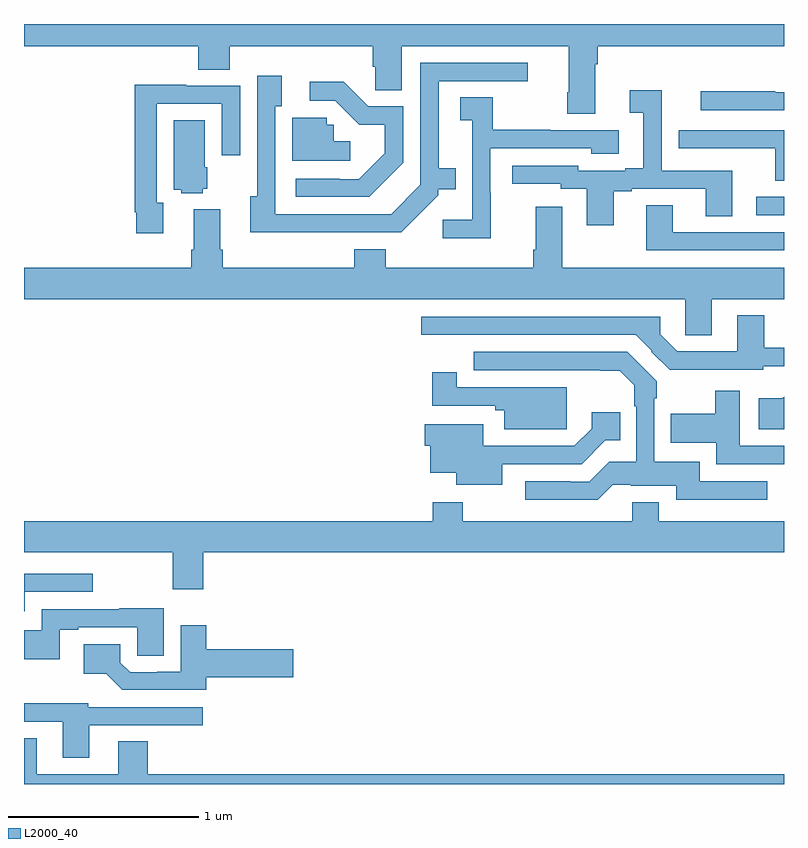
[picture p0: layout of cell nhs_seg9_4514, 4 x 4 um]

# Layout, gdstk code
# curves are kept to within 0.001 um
import gdstk
lib = gdstk.Library(unit=1e-6, precision=1e-09)
def R(c, l, rs):  # rectangles x0, y0, x1, y1
    for r in rs: c.add(gdstk.rectangle(r[:2], r[2:], *l))
def P(c, l, *ps):  # polygons
    for p in ps: c.add(gdstk.Polygon(p, *l))
L2000_40 = (2000, 40)

nhs_seg9_4514 = lib.new_cell('nhs_seg9_4514')
R(nhs_seg9_4514, L2000_40, [(372.855,1231.494,373,1231.59)])
P(nhs_seg9_4514, L2000_40, [(372.007,1232.288),(372.02,1232.288),(372.02,1232.384),(373,1232.384),(373,1232.5),(369,1232.5),(369,1232.384),(369.917,1232.384),(369.917,1232.26),(370.082,1232.26),(370.082,1232.384),(370.835,1232.384),(370.835,1232.274),(370.849,1232.274),(370.849,1232.152),(370.987,1232.152),(370.987,1232.384),(371.867,1232.384),(371.867,1232.14),(371.86,1232.14),(371.86,1232.028),(372.007,1232.028)],
  [(370.655,1231.404),(370.986,1231.404),(371.181,1231.599),(371.181,1231.631),(371.273,1231.631),(371.273,1231.741),(371.182,1231.741),(371.182,1232.199),(371.65,1232.199),(371.65,1232.295),(371.085,1232.295),(371.085,1231.653),(370.932,1231.5),(370.323,1231.5),(370.323,1232.066),(370.357,1232.066),(370.357,1232.227),(370.227,1232.227),(370.227,1231.594),(370.19,1231.594),(370.19,1231.403)],
  [(370.995,1231.769),(370.995,1232.067),(370.812,1232.067),(370.684,1232.195),(370.503,1232.195),(370.503,1232.097),(370.638,1232.097),(370.765,1231.97),(370.898,1231.97),(370.898,1231.82),(370.761,1231.683),(370.661,1231.683),(370.661,1231.686),(370.431,1231.686),(370.431,1231.59),(370.816,1231.59)],
  [(369.733,1231.559),(369.699,1231.559),(369.699,1232.079),(370.041,1232.079),(370.041,1231.809),(370.137,1231.809),(370.137,1232.175),(369.853,1232.175),(369.853,1232.179),(369.583,1232.179),(369.583,1231.51),(369.591,1231.51),(369.591,1231.398),(369.733,1231.398)],
  [(372.103,1231.62),(372.199,1231.62),(372.199,1231.632),(372.587,1231.632),(372.587,1231.489),(372.727,1231.489),(372.727,1231.728),(372.357,1231.728),(372.357,1232.152),(372.189,1232.152),(372.189,1232.032),(372.26,1232.032),(372.26,1231.741),(372.164,1231.741),(372.164,1231.728),(371.916,1231.728),(371.916,1231.755),(371.571,1231.755),(371.571,1231.659),(371.826,1231.659),(371.826,1231.632),(371.963,1231.632),(371.963,1231.44),(372.103,1231.44)],
  [(373,1232.142),(372.953,1232.142),(372.953,1232.145),(372.561,1232.145),(372.561,1232.046),(373,1232.046)],
  [(371.457,1231.613),(371.454,1231.613),(371.454,1231.845),(371.985,1231.845),(371.985,1231.817),(372.13,1231.817),(372.13,1231.941),(371.771,1231.941),(371.771,1231.944),(371.467,1231.944),(371.467,1232.114),(371.295,1232.114),(371.295,1231.993),(371.358,1231.993),(371.358,1231.471),(371.205,1231.471),(371.205,1231.373),(371.457,1231.373)],
  [(370.717,1231.882),(370.629,1231.882),(370.629,1231.971),(370.593,1231.971),(370.593,1232.007),(370.412,1232.007),(370.412,1231.779),(370.717,1231.779)],
  [(369.942,1231.632),(369.964,1231.632),(369.964,1231.746),(369.952,1231.746),(369.952,1231.994),(369.788,1231.994),(369.788,1231.628),(369.828,1231.628),(369.828,1231.61),(369.942,1231.61)],
  [(373,1231.941),(372.447,1231.941),(372.447,1231.846),(372.559,1231.846),(372.559,1231.845),(372.955,1231.845),(372.955,1231.675),(373,1231.675)],
  [(373,1231.404),(372.415,1231.404),(372.415,1231.547),(372.275,1231.547),(372.275,1231.308),(373,1231.308)],
  [(372.619,1231.052),(373,1231.052),(373,1231.216),(371.833,1231.216),(371.833,1231.537),(371.693,1231.537),(371.693,1231.312),(371.681,1231.312),(371.681,1231.216),(370.904,1231.216),(370.904,1231.315),(370.739,1231.315),(370.739,1231.216),(370.046,1231.216),(370.046,1231.312),(370.033,1231.312),(370.033,1231.525),(369.893,1231.525),(369.893,1231.312),(369.881,1231.312),(369.881,1231.216),(369,1231.216),(369,1231.052),(372.48,1231.052),(372.48,1230.862),(372.619,1230.862)],
  [(372.499,1230.681),(372.891,1230.681),(372.891,1230.699),(373,1230.699),(373,1230.795),(372.895,1230.795),(372.895,1230.967),(372.755,1230.967),(372.755,1230.777),(372.438,1230.777),(372.348,1230.868),(372.348,1230.96),(371.091,1230.96),(371.091,1230.864),(372.219,1230.864),(372.304,1230.779),(372.301,1230.776),(372.399,1230.679),(372.499,1230.679)],
  [(372.099,1230.075),(372.193,1230.075),(372.193,1230.071),(372.434,1230.071),(372.434,1229.997),(372.913,1229.997),(372.913,1230.093),(372.556,1230.093),(372.556,1230.196),(372.318,1230.196),(372.318,1230.53),(372.331,1230.53),(372.331,1230.619),(372.175,1230.774),(371.367,1230.774),(371.367,1230.678),(372.032,1230.678),(372.032,1230.676),(372.136,1230.676),(372.212,1230.6),(372.212,1230.488),(372.222,1230.488),(372.222,1230.195),(372.081,1230.195),(371.976,1230.09),(371.876,1230.09),(371.876,1230.093),(371.637,1230.093),(371.637,1229.996),(372.02,1229.996)],
  [(371.857,1230.589),(371.581,1230.589),(371.581,1230.588),(371.278,1230.588),(371.278,1230.667),(371.148,1230.667),(371.148,1230.492),(371.481,1230.492),(371.481,1230.467),(371.528,1230.467),(371.528,1230.368),(371.857,1230.368)],
  [(373,1230.279),(372.766,1230.279),(372.766,1230.571),(372.637,1230.571),(372.637,1230.448),(372.403,1230.448),(372.403,1230.296),(372.644,1230.296),(372.644,1230.183),(373,1230.183)],
  [(373,1230.539),(372.99,1230.529),(372.867,1230.529),(372.867,1230.368),(373,1230.368)],
  [(371.518,1230.183),(371.935,1230.183),(372.06,1230.308),(372.137,1230.308),(372.137,1230.457),(371.987,1230.457),(371.987,1230.371),(371.895,1230.279),(371.416,1230.279),(371.416,1230.394),(371.108,1230.394),(371.108,1230.28),(371.138,1230.28),(371.138,1230.137),(371.276,1230.137),(371.276,1230.074),(371.518,1230.074)],
  [(369.944,1229.72),(373,1229.72),(373,1229.884),(372.34,1229.884),(372.34,1229.983),(372.2,1229.983),(372.2,1229.884),(371.31,1229.884),(371.31,1229.983),(371.15,1229.983),(371.15,1229.884),(369,1229.884),(369,1229.72),(369.784,1229.72),(369.784,1229.526),(369.944,1229.526)],
  [(369.004,1229.511),(369.361,1229.511),(369.361,1229.607),(369,1229.607),(369,1229.408),(369.004,1229.408)],
  [(369.189,1229.313),(369.286,1229.313),(369.286,1229.325),(369.597,1229.325),(369.597,1229.176),(369.736,1229.176),(369.736,1229.426),(369.5,1229.426),(369.5,1229.421),(369.093,1229.421),(369.093,1229.308),(369,1229.308),(369,1229.156),(369.189,1229.156)],
  [(369.959,1229.063),(370.417,1229.063),(370.417,1229.21),(369.959,1229.21),(369.959,1229.335),(369.824,1229.335),(369.824,1229.091),(369.7,1229.091),(369.7,1229.088),(369.558,1229.088),(369.507,1229.139),(369.507,1229.236),(369.315,1229.236),(369.315,1229.081),(369.432,1229.081),(369.518,1228.995),(369.959,1228.995)],
  [(369.343,1228.809),(369.94,1228.809),(369.94,1228.905),(369.339,1228.905),(369.339,1228.926),(369,1228.926),(369,1228.827),(369.203,1228.827),(369.203,1228.638),(369.343,1228.638)],
  [(373,1228.552),(369.65,1228.552),(369.65,1228.724),(369.497,1228.724),(369.497,1228.552),(369.067,1228.552),(369.067,1228.742),(369,1228.742),(369,1228.5),(373,1228.5)])

lib.write_gds('nhs_seg9_4514.gds')
